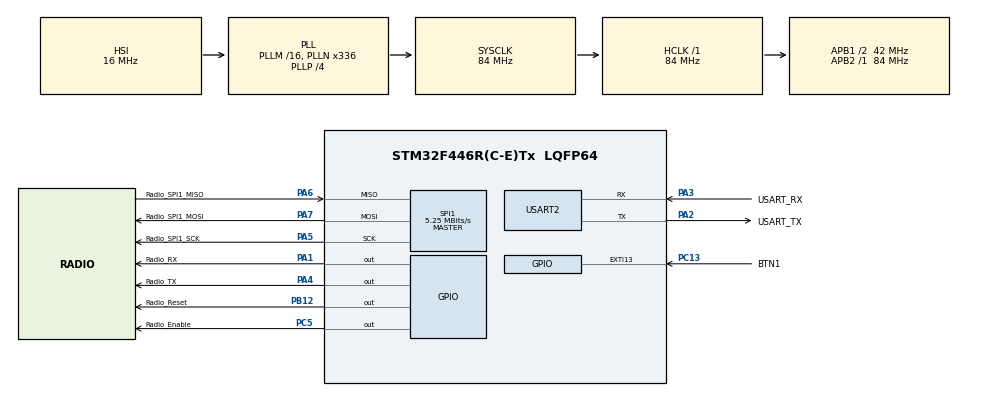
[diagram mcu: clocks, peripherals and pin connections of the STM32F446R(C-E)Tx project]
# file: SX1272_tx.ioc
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Mcu.Family=STM32F4
Mcu.Name=STM32F446R(C-E)Tx
Mcu.Package=LQFP64
NVIC.PriorityGroup=NVIC_PRIORITYGROUP_0
PA1.GPIO_Label=Radio_RX
PA1.Signal=GPIO_Output
PA13.GPIO_Label=TMS
PA13.Mode=Serial_Wire
PA13.Signal=SYS_JTMS-SWDIO
PA14.GPIO_Label=TCK
PA14.Mode=Serial_Wire
PA14.Signal=SYS_JTCK-SWCLK
PA2.GPIO_Label=USART_TX
PA2.Mode=Asynchronous
PA2.Signal=USART2_TX
PA3.GPIO_Label=USART_RX
PA3.Mode=Asynchronous
PA3.Signal=USART2_RX
PA4.GPIO_Label=Radio_TX
PA4.Signal=GPIO_Output
PA5.GPIO_Label=Radio_SPI1_SCK
PA5.Mode=Full_Duplex_Master
PA5.Signal=SPI1_SCK
PA6.GPIO_Label=Radio_SPI1_MISO
PA6.Mode=Full_Duplex_Master
PA6.Signal=SPI1_MISO
PA7.GPIO_Label=Radio_SPI1_MOSI
PA7.Mode=Full_Duplex_Master
PA7.Signal=SPI1_MOSI
PB12.GPIO_Label=Radio_Reset
PB12.Signal=GPIO_Output
PB3.GPIO_Label=SWO
PB3.Signal=SYS_JTDO-SWO
PC13.GPIO_Label=BTN1
PC13.GPIO_ModeDefaultEXTI=GPIO_MODE_IT_FALLING
PC13.Signal=GPXTI13
PC14-OSC32_IN.Mode=LSE-External-Oscillator
PC14-OSC32_IN.Signal=RCC_OSC32_IN
PC15-OSC32_OUT.Mode=LSE-External-Oscillator
PC15-OSC32_OUT.Signal=RCC_OSC32_OUT
PC5.GPIO_Label=Radio_Enable
PC5.Signal=GPIO_Output
PH0-OSC_IN.Mode=HSE-External-Oscillator
PH0-OSC_IN.Signal=RCC_OSC_IN
PH1-OSC_OUT.Mode=HSE-External-Oscillator
PH1-OSC_OUT.Signal=RCC_OSC_OUT
ProjectManager.HeapSize=0x200
ProjectManager.StackSize=0x400
ProjectManager.TargetToolchain=STM32CubeIDE
RCC.48MHZClocksFreq_Value=84000000
RCC.AHBFreq_Value=84000000
RCC.APB1CLKDivider=RCC_HCLK_DIV2
RCC.APB1Freq_Value=42000000
RCC.APB1TimFreq_Value=84000000
RCC.APB2Freq_Value=84000000
RCC.APB2TimFreq_Value=84000000
RCC.CortexFreq_Value=84000000
RCC.FLatency-AdvancedSettings=FLASH_LATENCY_2
RCC.HCLKFreq_Value=84000000
RCC.HSE_VALUE=8000000
RCC.HSI_VALUE=16000000
RCC.PLLN=336
RCC.PLLP=RCC_PLLP_DIV4
RCC.SYSCLKFreq_VALUE=84000000
RCC.SYSCLKSource=RCC_SYSCLKSOURCE_PLLCLK
RCC.USBFreq_Value=168000000
RCC.VCOOutputFreq_Value=336000000
SPI1.BaudRatePrescaler=SPI_BAUDRATEPRESCALER_16
SPI1.CalculateBaudRate=5.25 MBits/s
SPI1.Direction=SPI_DIRECTION_2LINES
SPI1.Mode=SPI_MODE_MASTER
SPI1.VirtualType=VM_MASTER
USART2.VirtualMode=VM_ASYNC
VP_TIM6_VS_ClockSourceINT.Mode=Enable_Timer
board=NUCLEO-F446RE

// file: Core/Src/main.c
/* USER CODE BEGIN Header */
/**
  ******************************************************************************
  * @file           : main.c
  * @brief          : Main program body
  ******************************************************************************
  * @attention
  *
  * Copyright (c) 2023 STMicroelectronics.
  * All rights reserved.
  *
  * This software is licensed under terms that can be found in the LICENSE file
  * in the root directory of this software component.
  * If no LICENSE file comes with this software, it is provided AS-IS.
  *
  ******************************************************************************
  */
/* USER CODE END Header */
#include "main.h"

/* USER CODE BEGIN Includes */
#include "sx1272.h"
#include "sx1272_regs.h"
/* USER CODE END Includes */

SPI_HandleTypeDef hspi1;

TIM_HandleTypeDef htim6;

UART_HandleTypeDef huart2;

/* USER CODE BEGIN PV */
int counter = 0;

sx1272_t sx;
sx_gpio_t sx_cs_gpio, sx_tx_gpio, sx_rx_gpio;

int buttonPressed = 0;
uint8_t buf[256] = "Hello, world!";
int mode = 1;

/* USER CODE END PV */

void SystemClock_Config(void);
static void MX_GPIO_Init(void);
static void MX_USART2_UART_Init(void);
static void MX_TIM6_Init(void);
static void MX_SPI1_Init(void);

/* USER CODE BEGIN 0 */
#ifdef __GNUC__
#define PUTCHAR_PROTOTYPE int __io_putchar(int ch)
#else
#define PUTCHAR_PROTOTYPE int fputc(int ch, FILE *f)
#endif

PUTCHAR_PROTOTYPE
{
  HAL_UART_Transmit(&huart2, (uint8_t *)&ch, 1, HAL_MAX_DELAY);
  return ch;
}

void HAL_GPIO_EXTI_Callback(uint16_t pin) {
	if (pin == BTN1_Pin) {
		if (! HAL_GPIO_ReadPin(BTN1_GPIO_Port, BTN1_Pin)) {
			buttonPressed = 1;
		}
	}
}
/* USER CODE END 0 */

int main(void)
{

  /* MCU Configuration--------------------------------------------------------*/

  /* Reset of all peripherals, Initializes the Flash interface and the Systick. */
  HAL_Init();

  /* Configure the system clock */
  SystemClock_Config();

  /* Initialize all configured peripherals */
  MX_GPIO_Init();
  MX_USART2_UART_Init();
  MX_TIM6_Init();
  MX_SPI1_Init();
  /* USER CODE BEGIN 2 */
  sx_cs_gpio = (sx_gpio_t) {
  		.port = Radio_Enable_GPIO_Port,
  		.pin = Radio_Enable_Pin,
  	};

  	sx_tx_gpio = (sx_gpio_t) {
  		.port = Radio_TX_GPIO_Port,
  		.pin = Radio_TX_Pin,
  	};

  	sx_rx_gpio = (sx_gpio_t) {
  		.port = Radio_RX_GPIO_Port,
  		.pin = Radio_RX_Pin,
  	};

  	// Init device structure

  	sx = (sx1272_t) {
  			.spi = &hspi1,
  			.cs_gpio = &sx_cs_gpio,
  			.tx_gpio = &sx_tx_gpio,
  			.rx_gpio = &sx_rx_gpio,
  			.packet_length = 16,
  	};

  	/*printf("tx (1), rx (2), tx_no_crc (3), echo_src (4), echo_wall (5) ? ");
  	fflush(stdout);*/

  	mode = 1;//__io_getchar() - '0';

  	printf("\r\nGot mode: %d\r\n", mode);

  	if (sx1272_common_init(&sx, !(mode == 3))) {
  		Error_Handler();
  	}

  	printf("sx1272 init success!\r\n");

  	if (mode == 3) {
  		mode = 1;
  		strcpy((char *)buf, "xxxxx, xxxxx!");
  	}

  /* USER CODE END 2 */

  /* Infinite loop */
  while (1)
  {

    /* USER CODE BEGIN 3 */
	  /*if (mode == 5) {	// echo_wall
		HAL_GPIO_WritePin(LD2_GPIO_Port, LD2_Pin, 0);
		uint8_t rcv[16];
		int ret = sx1272_receive_continuous(&sx, rcv, true);

		sx1272_transmit(&sx, rcv);
		printf("Echo: %.16s\r\n", rcv);

		HAL_GPIO_WritePin(LD2_GPIO_Port, LD2_Pin, 1);
	}
	else {
		HAL_Delay(50);
	}

	if (buttonPressed) {
		buttonPressed = 0;

		if (mode == 1) {*/
			// TX

			//HAL_GPIO_WritePin(LD2_GPIO_Port, LD2_Pin, 1);

			/*int ret = sx1272_transmit(&sx, buf);

			//HAL_GPIO_WritePin(LD2_GPIO_Port, LD2_Pin, 0);
			printf("Tx status: %d\r\n", ret);*/

	  htim6.Instance->CNT = 0;
			HAL_TIM_Base_Start(&htim6);

			int ret = sx1272_receive_continuous(&sx, buf, true);

			HAL_TIM_Base_Stop(&htim6);

			printf("Time from last RX: %ldms\r\n", htim6.Instance->CNT / 2);

			//HAL_GPIO_WritePin(LD2_GPIO_Port, LD2_Pin, 0);
			printf("RX status: %d\r\n", ret);

			for (int i=0; i<256; i++) {
				if (buf[i] == 0)
					buf[i] = ' ';
			}
			printf("Got: %.256s\r\n", buf);

			int current_rssi = sx1272_current_rssi(&sx);
			int current_snr = sx1272_packet_snr(&sx);

			printf("RSSI: %d\n\r", current_rssi);
			printf("SNR: %d\n\r", current_snr);

			memset(buf, 0, 16);
/*
		}
		else if (mode == 2) { // RX

			HAL_GPIO_WritePin(LD2_GPIO_Port, LD2_Pin, 1);

			htim6.Instance->CNT = 0;
			HAL_TIM_Base_Start(&htim6);

			int ret = sx1272_receive_continuous(&sx, buf, true);

			HAL_TIM_Base_Stop(&htim6);

			printf("Time from last RX: %ldms\r\n", htim6.Instance->CNT / 2);

			HAL_GPIO_WritePin(LD2_GPIO_Port, LD2_Pin, 0);
			printf("RX status: %d\r\n", ret);

			for (int i=0; i<256; i++) {
				if (buf[i] == 0)
					buf[i] = ' ';
			}
			printf("Got: %.256s\r\n", buf);
			memset(buf, 0, 16);
		}
		else if (mode == 4) { // echo_src
			HAL_GPIO_WritePin(LD2_GPIO_Port, LD2_Pin, 1);
			sx1272_transmit(&sx, buf);
			printf("Sent message: %.16s\r\n", buf);

			uint8_t rcv[16];
			int ret = sx1272_receive_continuous(&sx, rcv, true);
			printf("Got: %.16s\r\n", rcv);

			HAL_GPIO_WritePin(LD2_GPIO_Port, LD2_Pin, 0);
		}

	}*/
	HAL_Delay(100);
  }
  /* USER CODE END 3 */
}

void SystemClock_Config(void)
{
  RCC_OscInitTypeDef RCC_OscInitStruct = {0};
  RCC_ClkInitTypeDef RCC_ClkInitStruct = {0};

  /** Configure the main internal regulator output voltage
  */
  __HAL_RCC_PWR_CLK_ENABLE();
  __HAL_PWR_VOLTAGESCALING_CONFIG(PWR_REGULATOR_VOLTAGE_SCALE3);

  /** Initializes the RCC Oscillators according to the specified parameters
  * in the RCC_OscInitTypeDef structure.
  */
  RCC_OscInitStruct.OscillatorType = RCC_OSCILLATORTYPE_HSI;
  RCC_OscInitStruct.HSIState = RCC_HSI_ON;
  RCC_OscInitStruct.HSICalibrationValue = RCC_HSICALIBRATION_DEFAULT;
  RCC_OscInitStruct.PLL.PLLState = RCC_PLL_ON;
  RCC_OscInitStruct.PLL.PLLSource = RCC_PLLSOURCE_HSI;
  RCC_OscInitStruct.PLL.PLLM = 16;
  RCC_OscInitStruct.PLL.PLLN = 336;
  RCC_OscInitStruct.PLL.PLLP = RCC_PLLP_DIV4;
  RCC_OscInitStruct.PLL.PLLQ = 2;
  RCC_OscInitStruct.PLL.PLLR = 2;
  if (HAL_RCC_OscConfig(&RCC_OscInitStruct) != HAL_OK)
  {
    Error_Handler();
  }

  /** Initializes the CPU, AHB and APB buses clocks
  */
  RCC_ClkInitStruct.ClockType = RCC_CLOCKTYPE_HCLK|RCC_CLOCKTYPE_SYSCLK
                              |RCC_CLOCKTYPE_PCLK1|RCC_CLOCKTYPE_PCLK2;
  RCC_ClkInitStruct.SYSCLKSource = RCC_SYSCLKSOURCE_PLLCLK;
  RCC_ClkInitStruct.AHBCLKDivider = RCC_SYSCLK_DIV1;
  RCC_ClkInitStruct.APB1CLKDivider = RCC_HCLK_DIV2;
  RCC_ClkInitStruct.APB2CLKDivider = RCC_HCLK_DIV1;

  if (HAL_RCC_ClockConfig(&RCC_ClkInitStruct, FLASH_LATENCY_2) != HAL_OK)
  {
    Error_Handler();
  }
}

static void MX_SPI1_Init(void)
{

  /* SPI1 parameter configuration*/
  hspi1.Instance = SPI1;
  hspi1.Init.Mode = SPI_MODE_MASTER;
  hspi1.Init.Direction = SPI_DIRECTION_2LINES;
  hspi1.Init.DataSize = SPI_DATASIZE_8BIT;
  hspi1.Init.CLKPolarity = SPI_POLARITY_LOW;
  hspi1.Init.CLKPhase = SPI_PHASE_1EDGE;
  hspi1.Init.NSS = SPI_NSS_SOFT;
  hspi1.Init.BaudRatePrescaler = SPI_BAUDRATEPRESCALER_16;
  hspi1.Init.FirstBit = SPI_FIRSTBIT_MSB;
  hspi1.Init.TIMode = SPI_TIMODE_DISABLE;
  hspi1.Init.CRCCalculation = SPI_CRCCALCULATION_DISABLE;
  hspi1.Init.CRCPolynomial = 10;
  if (HAL_SPI_Init(&hspi1) != HAL_OK)
  {
    Error_Handler();
  }

}

static void MX_TIM6_Init(void)
{

  TIM_MasterConfigTypeDef sMasterConfig = {0};

  htim6.Instance = TIM6;
  htim6.Init.Prescaler = 0;
  htim6.Init.CounterMode = TIM_COUNTERMODE_UP;
  htim6.Init.Period = 65535;
  htim6.Init.AutoReloadPreload = TIM_AUTORELOAD_PRELOAD_DISABLE;
  if (HAL_TIM_Base_Init(&htim6) != HAL_OK)
  {
    Error_Handler();
  }
  sMasterConfig.MasterOutputTrigger = TIM_TRGO_RESET;
  sMasterConfig.MasterSlaveMode = TIM_MASTERSLAVEMODE_DISABLE;
  if (HAL_TIMEx_MasterConfigSynchronization(&htim6, &sMasterConfig) != HAL_OK)
  {
    Error_Handler();
  }

}

static void MX_USART2_UART_Init(void)
{

  huart2.Instance = USART2;
  huart2.Init.BaudRate = 115200;
  huart2.Init.WordLength = UART_WORDLENGTH_8B;
  huart2.Init.StopBits = UART_STOPBITS_1;
  huart2.Init.Parity = UART_PARITY_NONE;
  huart2.Init.Mode = UART_MODE_TX_RX;
  huart2.Init.HwFlowCtl = UART_HWCONTROL_NONE;
  huart2.Init.OverSampling = UART_OVERSAMPLING_16;
  if (HAL_UART_Init(&huart2) != HAL_OK)
  {
    Error_Handler();
  }

}

static void MX_GPIO_Init(void)
{
  GPIO_InitTypeDef GPIO_InitStruct = {0};

  /* GPIO Ports Clock Enable */
  __HAL_RCC_GPIOC_CLK_ENABLE();
  __HAL_RCC_GPIOH_CLK_ENABLE();
  __HAL_RCC_GPIOA_CLK_ENABLE();
  __HAL_RCC_GPIOB_CLK_ENABLE();

  /*Configure GPIO pin Output Level */
  HAL_GPIO_WritePin(GPIOA, Radio_RX_Pin|Radio_TX_Pin, GPIO_PIN_RESET);

  /*Configure GPIO pin Output Level */
  HAL_GPIO_WritePin(Radio_Enable_GPIO_Port, Radio_Enable_Pin, GPIO_PIN_RESET);

  /*Configure GPIO pin Output Level */
  HAL_GPIO_WritePin(Radio_Reset_GPIO_Port, Radio_Reset_Pin, GPIO_PIN_RESET);

  /*Configure GPIO pin : BTN1_Pin */
  GPIO_InitStruct.Pin = BTN1_Pin;
  GPIO_InitStruct.Mode = GPIO_MODE_IT_FALLING;
  GPIO_InitStruct.Pull = GPIO_NOPULL;
  HAL_GPIO_Init(BTN1_GPIO_Port, &GPIO_InitStruct);

  /*Configure GPIO pins : Radio_RX_Pin Radio_TX_Pin */
  GPIO_InitStruct.Pin = Radio_RX_Pin|Radio_TX_Pin;
  GPIO_InitStruct.Mode = GPIO_MODE_OUTPUT_PP;
  GPIO_InitStruct.Pull = GPIO_NOPULL;
  GPIO_InitStruct.Speed = GPIO_SPEED_FREQ_LOW;
  HAL_GPIO_Init(GPIOA, &GPIO_InitStruct);

  /*Configure GPIO pin : Radio_Enable_Pin */
  GPIO_InitStruct.Pin = Radio_Enable_Pin;
  GPIO_InitStruct.Mode = GPIO_MODE_OUTPUT_PP;
  GPIO_InitStruct.Pull = GPIO_NOPULL;
  GPIO_InitStruct.Speed = GPIO_SPEED_FREQ_LOW;
  HAL_GPIO_Init(Radio_Enable_GPIO_Port, &GPIO_InitStruct);

  /*Configure GPIO pin : Radio_Reset_Pin */
  GPIO_InitStruct.Pin = Radio_Reset_Pin;
  GPIO_InitStruct.Mode = GPIO_MODE_OUTPUT_PP;
  GPIO_InitStruct.Pull = GPIO_NOPULL;
  GPIO_InitStruct.Speed = GPIO_SPEED_FREQ_LOW;
  HAL_GPIO_Init(Radio_Reset_GPIO_Port, &GPIO_InitStruct);

}

void Error_Handler(void)
{
  __disable_irq();
  while (1)
  {
  }
}
